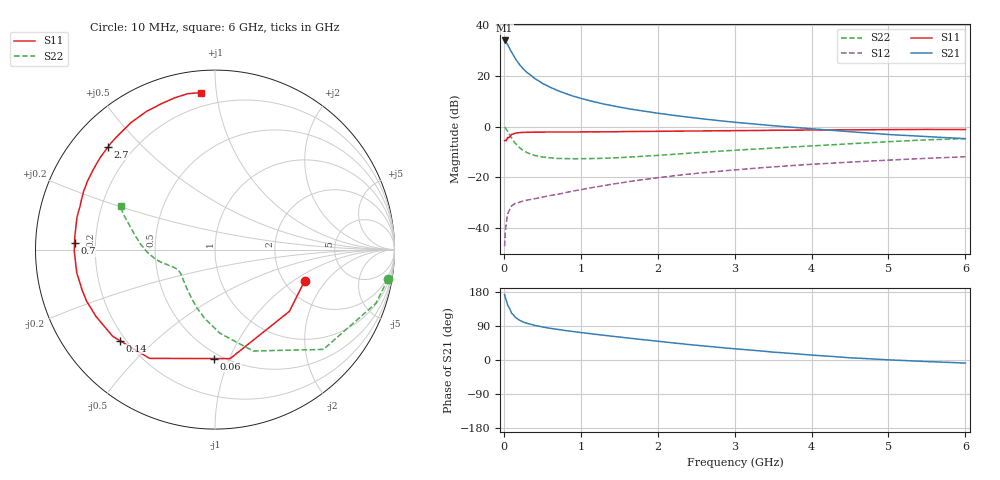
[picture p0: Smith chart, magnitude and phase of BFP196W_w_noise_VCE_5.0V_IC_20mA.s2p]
! Infineon Technologies  Discrete & RF Semiconductors
! BFP196W
! VCE =  5.0 V,  IC =  20 mA
! Common Emitter S-Parameters:  Jan 2017
# GHz  S  MA  R  50
!  f  S11  S21  S12  S22
! GHz  MAG  ANG  MAG  ANG  MAG  ANG  MAG  ANG
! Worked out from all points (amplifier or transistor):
!   77 points, 10 MHz to 6 GHz, reference 50 ohm
!   highest |S21| = 34.0 dB at 10 MHz (marker M1)
!   |S21| within 3 dB of that: start of sweep to 72.59 MHz
!   unconditionally stable (mu >= 1): 979.2 MHz to 3.212 GHz
!   at 130 MHz: K = 0.24, MSG = 29.3 dB, |S12| = -30.6 dB
!   at 2.2 GHz: K = 1.06, MAG = 10.5 dB, |S12| = -19.4 dB
!   at 6 GHz: K = 0.91, MSG = 3.6 dB, |S12| = -11.9 dB
!   lowest NFmin = 1.02 dB at 450 MHz
!   S11 on the Smith chart (normalised r, x): 10 MHz: 2.56, -1.24; 60 MHz: 0.46, -0.88; 140 MHz: 0.18, -0.39; 700 MHz: 0.12, +0.02; 2.7 GHz: 0.11, +0.40; 6 GHz: 0.12, +0.91
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0.01  0.5288 -19.3  50.05 172.7  0.0044 81.1  0.9779 -9.6
0.02  0.5387 -39.7  48.66 164.2  0.0087 78.7  0.9454 -18.4
0.05  0.6132 -82.1  41.35 144.4  0.019 58.3  0.821 -42.6
0.06  0.6071 -90.5  38.65 141.3  0.0206 54.7  0.7667 -46.7
0.1  0.7071 -121.0  29.46 123.7  0.0275 44.7  0.6043 -69.3
0.14  0.7332 -136.2  23.28 115.3  0.0301 37.6  0.4901 -82.4
0.15  0.7474 -139.8  21.84 112.5  0.0308 36.0  0.4667 -86.6
0.2  0.7606 -150.8  17.05 105.4  0.0323 34.4  0.3896 -98.2
0.25  0.7708 -158.1  13.93 100.3  0.0342 33.1  0.3396 -107.3
0.3  0.7738 -163.2  11.73 96.8  0.0356 33.0  0.3072 -114.2
0.4  0.781 -170.5  8.932 91.2  0.0379 34.5  0.2707 -124.7
0.5  0.7804 -175.5  7.172 87.2  0.0408 37.6  0.2527 -131.9
0.7  0.7835 177.3  5.147 80.8  0.0463 43.5  0.2359 -141.2
0.9  0.7846 171.6  4.004 75.1  0.0538 46.9  0.2332 -146.4
1.1  0.7897 166.9  3.298 70.1  0.0611 49.7  0.2345 -150.0
1.5  0.7963 158.4  2.431 60.7  0.0769 52.3  0.2451 -155.3
2.1  0.8115 146.4  1.758 47.4  0.1026 52.7  0.2777 -162.2
2.7  0.8263 136.0  1.364 35.2  0.1278 50.6  0.3207 -168.7
3.1  0.8354 129.5  1.184 28.0  0.1443 48.2  0.3495 -173.4
4.1  0.86 115.0  0.884 11.6  0.1847 41.7  0.425 174.2
5.1  0.8758 103.8  0.687 -0.5  0.2223 34.4  0.5139 162.1
6  0.8783 95.2  0.579 -8.1  0.2551 27.5  0.5799 155.0
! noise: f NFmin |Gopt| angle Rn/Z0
0.45  1.02  0.4  170  0.05
0.9  1.2  0.51  178  0.05
1.9  2.11  0.69  -155  0.11
2.4  2.55  0.74  -147  0.2
